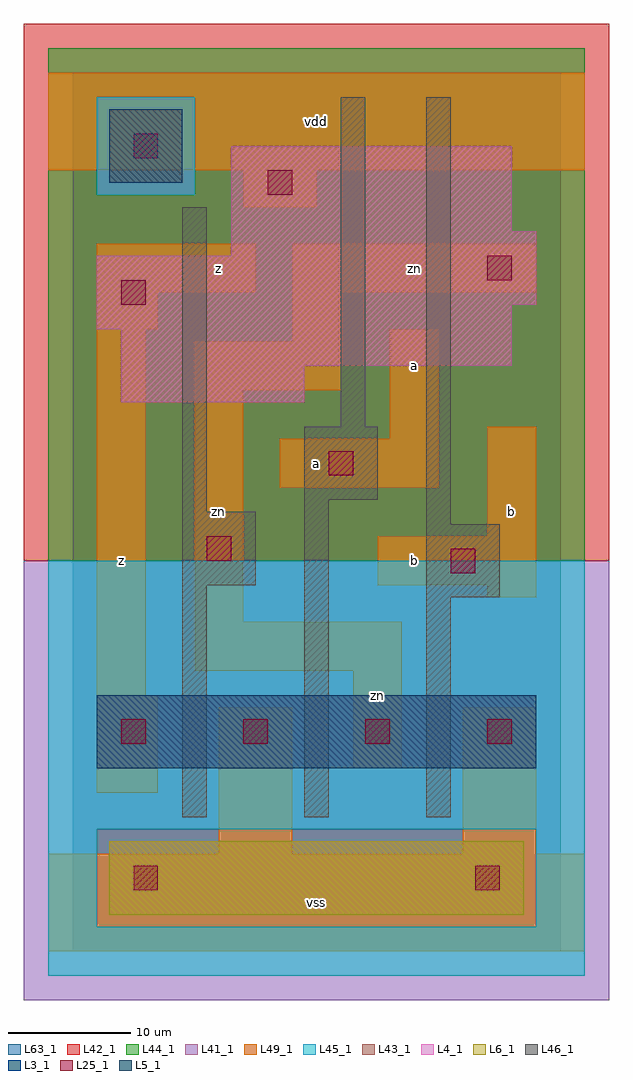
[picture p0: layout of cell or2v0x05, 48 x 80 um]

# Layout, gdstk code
import gdstk
lib = gdstk.Library(unit=1e-6, precision=1e-09)
def R(c, l, rs):  # rectangles x0, y0, x1, y1
    for r in rs: c.add(gdstk.rectangle(r[:2], r[2:], *l))
def A(c, l, x, y, w, h, nx, ny, dx, dy):  # array of equal rectangles
    R(c, l, [(x+i*dx, y+j*dy, x+i*dx+w, y+j*dy+h) for i in range(nx) for j in range(ny)])
L3_1 = (3, 1)
L4_1 = (4, 1)
L5_1 = (5, 1)
L6_1 = (6, 1)
L25_1 = (25, 1)
L41_1 = (41, 1)
L42_1 = (42, 1)
L43_1 = (43, 1)
L44_1 = (44, 1)
L45_1 = (45, 1)
L46_1 = (46, 1)
L49_1 = (49, 1)
L63_1 = (63, 1)

or2v0x05 = lib.new_cell('or2v0x05')
R(or2v0x05, L3_1, [(2,15,38,21)])
R(or2v0x05, L4_1, [(4,45,19,48), (4,48,36,51), (2,51,36,53), (2,53,38,57), (13,57,38,59), (13,59,36,66)])
R(or2v0x05, L5_1, [(3,63,9,69)])
R(or2v0x05, L6_1, [(3,3,37,9), (3,3,37,9)])
A(or2v0x05, L25_1, 4, 17, 2, 2, 4, 1, 10, 0)
R(or2v0x05, L25_1, [(5,5,7,7), (33,5,35,7), (31,31,33,33), (11,32,13,34), (21,39,23,41), (4,53,6,55), (34,55,36,57), (16,62,18,64), (5,65,7,67)])
R(or2v0x05, L41_1, [(-4,-4,44,32)])
R(or2v0x05, L42_1, [(-4,32,44,76)])
R(or2v0x05, L43_1, [(3,3,37,9), (2,15,38,21), (4,45,19,48), (4,48,36,51), (2,51,36,53), (2,53,38,57), (13,57,38,59), (13,59,36,66), (3,63,9,69)])
R(or2v0x05, L44_1, [(2,2,38,10), (-2,32,42,62), (-2,62,2,70), (10,62,42,70), (-2,70,42,74)])
R(or2v0x05, L45_1, [(-2,-2,42,2), (-2,2,2,10), (38,2,42,10), (-2,10,42,32), (2,62,10,70)])
R(or2v0x05, L46_1, [(9,11,11,30), (19,11,21,37), (29,11,31,29), (29,29,35,35), (9,30,15,36), (29,35,31,70), (9,36,11,61), (19,37,25,43), (22,43,24,70)])
R(or2v0x05, L49_1, [(-2,0,42,8), (12,8,18,20), (32,8,38,20), (2,13,7,21), (23,15,27,23), (2,21,6,51), (10,23,27,27), (10,27,14,46), (34,29,38,30), (25,30,38,34), (34,34,38,43), (17,38,30,42), (26,42,30,51), (10,46,22,50), (18,50,22,54), (2,51,7,54), (2,54,15,58), (18,54,38,58), (14,61,20,64), (-2,64,42,72)])
R(or2v0x05, L63_1, [(0,0,40,72)])
or2v0x05.add(gdstk.Label('z', (4,32), layer=49, texttype=1))
or2v0x05.add(gdstk.Label('zn', (12,36), layer=49, texttype=1))
or2v0x05.add(gdstk.Label('z', (12,56), layer=49, texttype=1))
or2v0x05.add(gdstk.Label('vss', (20,4), layer=49, texttype=1))
or2v0x05.add(gdstk.Label('zn', (25,21), layer=49, texttype=1))
or2v0x05.add(gdstk.Label('b', (28,32), layer=49, texttype=1))
or2v0x05.add(gdstk.Label('a', (20,40), layer=49, texttype=1))
or2v0x05.add(gdstk.Label('a', (28,48), layer=49, texttype=1))
or2v0x05.add(gdstk.Label('vdd', (20,68), layer=49, texttype=1))
or2v0x05.add(gdstk.Label('b', (36,36), layer=49, texttype=1))
or2v0x05.add(gdstk.Label('zn', (28,56), layer=49, texttype=1))

lib.write_gds('or2v0x05.gds')
